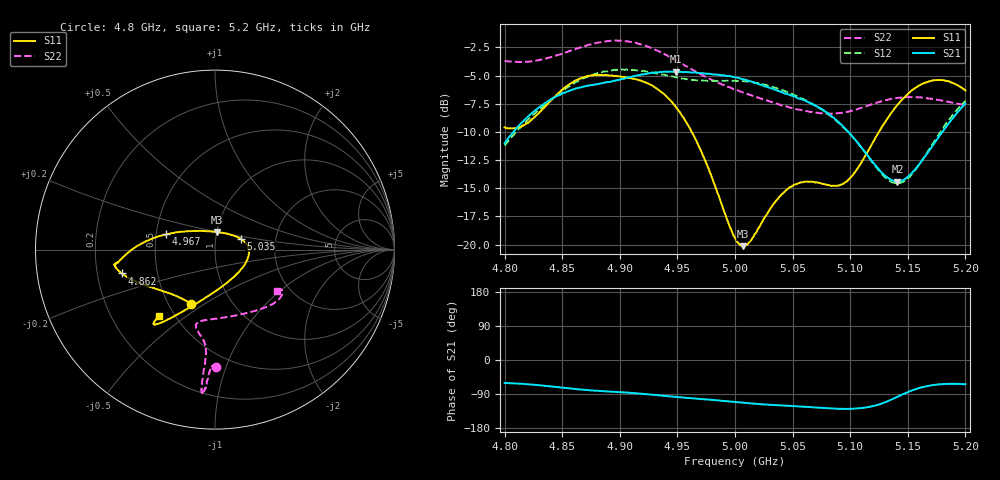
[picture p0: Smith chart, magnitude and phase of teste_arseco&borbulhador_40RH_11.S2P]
! Network Analyzer HP8722D
! Hewlett-Packard
! Data name: Linha & Wilkinson
! Saver's name: Rodrigo Anjos
! Comments: Teste da utilização de aquisição
! continua pelo VNA HP8722D
! Time and date: 15/4/2025 16:26
!  Frequency  S11  S21  S12  S22
# HZ  S  MA R 50
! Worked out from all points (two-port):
!   401 points, 4.8 GHz to 5.2 GHz, reference 50 ohm
!   highest |S21| = -4.64 dB at 4.949 GHz (marker M1); lowest = -14.4 dB at 5.141 GHz (marker M2)
!   |S21| within 3 dB of the highest: 4.832 GHz to 5.069 GHz (236.9 MHz wide, 4.79 % of centre); 5.198535 GHz to end of sweep
!   lowest |S11| = -20.1 dB at 5.007 GHz (marker M3), VSWR 1.22, Z = 50.1 + j9.9 ohm
!   |S11| at or under -10 dB: 4.962 GHz to 5.125 GHz (162.6 MHz wide, 3.22 % of centre)
!   |S22| runs from -8.4 to -1.9 dB; largest |S21 - S12| = 0.88
!   S11 on the Smith chart (normalised r, x): 4.8 GHz: 0.65, -0.44; 4.862 GHz: 0.31, -0.11; 4.967 GHz: 0.57, +0.10; 5.035 GHz: 1.32, +0.16; 5.2 GHz: 0.41, -0.40
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4.8e9  0.3312 -113.7  0.2816 -60.8  0.2748 -175.0  0.6536 -89.5
4.82e9  0.3461 -134.5  0.3689 -63.9  0.3571 -173.3  0.6478 -91.1
4.862e9  0.5361 -165.6  0.4937 -76.5  0.5271 -176.3  0.7386 -93.5
4.867e9  0.5493 -167.5  0.5006 -78.1  0.5416 -177.2  0.7535 -93.7
4.898e9  0.559 -172.0  0.5375 -84.4  0.5956 176.2  0.804 -94.9
4.934e9  0.4847 -177.9  0.5823 -93.4  0.5738 172.1  0.7196 -95.5
4.949e9  0.4058 174.9  0.5862 -97.2  0.5526 172.3  0.6573 -95.3
4.967e9  0.285 162.6  0.5782 -102.0  0.5352 174.1  0.5813 -95.0
5e9  0.1073 107.4  0.5527 -110.7  0.5345 176.6  0.4881 -99.2
5.007e9  0.09841 83.5  0.5409 -112.5  0.5305 176.4  0.4728 -100.9
5.014e9  0.1043 61.4  0.5298 -114.6  0.5274 176.2  0.4612 -102.4
5.035e9  0.1547 23.1  0.4865 -119.1  0.4972 175.1  0.4241 -103.8
5.05e9  0.1825 7.1  0.4577 -121.6  0.465 174.6  0.4042 -100.4
5.067e9  0.1902 -11.1  0.4203 -124.8  0.4213 174.0  0.388 -91.9
5.086e9  0.1825 -41.7  0.3654 -128.3  0.3624 173.9  0.3808 -77.9
5.097e9  0.1905 -64.7  0.3218 -129.1  0.3214 174.5  0.388 -68.5
5.134e9  0.3729 -116.0  0.1957 -107.0  0.1919 -159.8  0.4417 -43.4
5.141e9  0.4165 -120.0  0.1902 -97.2  0.187 -148.9  0.4475 -40.2
5.152e9  0.4757 -124.4  0.2043 -82.3  0.2005 -131.5  0.4513 -36.2
5.17e9  0.5327 -128.5  0.267 -66.8  0.272 -113.0  0.4445 -32.1
5.184e9  0.5326 -129.9  0.3378 -63.1  0.3488 -107.1  0.4314 -31.1
5.2e9  0.4829 -130.3  0.4224 -64.0  0.4342 -106.0  0.4154 -33.4
